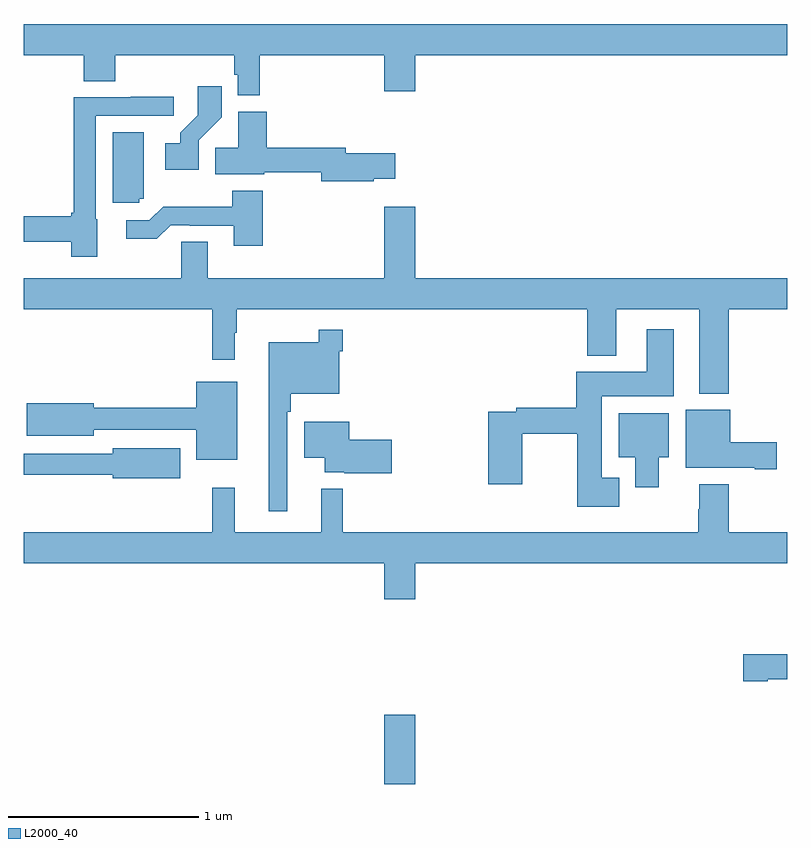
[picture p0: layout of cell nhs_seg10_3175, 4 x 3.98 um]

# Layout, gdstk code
import gdstk
lib = gdstk.Library(unit=1e-6, precision=1e-09)
def R(c, l, rs):  # rectangles x0, y0, x1, y1
    for r in rs: c.add(gdstk.rectangle(r[:2], r[2:], *l))
def P(c, l, *ps):  # polygons
    for p in ps: c.add(gdstk.Polygon(p, *l))
L2000_40 = (2000, 40)

nhs_seg10_3175 = lib.new_cell('nhs_seg10_3175')
R(nhs_seg10_3175, L2000_40, [(284.888,1292.5,285.052,1292.863)])
P(nhs_seg10_3175, L2000_40, [(284.237,1296.32),(284.888,1296.32),(284.888,1296.132),(285.052,1296.132),(285.052,1296.32),(287,1296.32),(287,1296.484),(283,1296.484),(283,1296.32),(283.313,1296.32),(283.313,1296.184),(283.478,1296.184),(283.478,1296.32),(284.101,1296.32),(284.101,1296.219),(284.121,1296.219),(284.121,1296.11),(284.237,1296.11)],
  [(283.917,1295.875),(284.036,1295.994),(284.036,1296.157),(283.911,1296.157),(283.911,1296.005),(283.82,1295.915),(283.82,1295.86),(283.74,1295.86),(283.74,1295.72),(283.917,1295.72)],
  [(283.384,1295.46),(283.377,1295.46),(283.377,1296.003),(283.786,1296.003),(283.786,1296.102),(283.561,1296.102),(283.561,1296.099),(283.261,1296.099),(283.261,1295.495),(283.248,1295.495),(283.248,1295.477),(283,1295.477),(283,1295.342),(283.248,1295.342),(283.248,1295.264),(283.384,1295.264)],
  [(284.834,1295.672),(284.947,1295.672),(284.947,1295.807),(284.686,1295.807),(284.686,1295.836),(284.273,1295.836),(284.273,1296.025),(284.123,1296.025),(284.123,1295.834),(284.002,1295.834),(284.002,1295.696),(284.26,1295.696),(284.26,1295.707),(284.558,1295.707),(284.558,1295.66),(284.834,1295.66)],
  [(283.605,1295.568),(283.627,1295.568),(283.627,1295.917),(283.466,1295.917),(283.466,1295.547),(283.605,1295.547)],
  [(284.252,1295.611),(284.092,1295.611),(284.092,1295.527),(283.729,1295.527),(283.656,1295.454),(283.536,1295.454),(283.536,1295.357),(283.697,1295.357),(283.77,1295.43),(283.87,1295.43),(283.87,1295.427),(284.099,1295.427),(284.099,1295.322),(284.252,1295.322)],
  [(286.694,1294.988),(287,1294.988),(287,1295.152),(285.052,1295.152),(285.052,1295.527),(284.888,1295.527),(284.888,1295.152),(283.963,1295.152),(283.963,1295.342),(283.824,1295.342),(283.824,1295.152),(283,1295.152),(283,1294.988),(283.987,1294.988),(283.987,1294.725),(284.104,1294.725),(284.104,1294.865),(284.116,1294.865),(284.116,1294.988),(285.953,1294.988),(285.953,1294.745),(286.105,1294.745),(286.105,1294.988),(286.541,1294.988),(286.541,1294.547),(286.694,1294.547)],
  [(286.12,1294.105),(286.03,1294.105),(286.03,1294.532),(286.405,1294.532),(286.405,1294.885),(286.265,1294.885),(286.265,1294.66),(285.896,1294.66),(285.896,1294.472),(285.58,1294.472),(285.58,1294.452),(285.434,1294.452),(285.434,1294.071),(285.612,1294.071),(285.612,1294.336),(285.901,1294.336),(285.901,1293.953),(286.12,1293.953)],
  [(284.379,1294.451),(284.399,1294.451),(284.399,1294.547),(284.652,1294.547),(284.652,1294.769),(284.672,1294.769),(284.672,1294.882),(284.544,1294.882),(284.544,1294.816),(284.282,1294.816),(284.282,1293.93),(284.379,1293.93)],
  [(284.119,1294.609),(283.904,1294.609),(283.904,1294.472),(283.366,1294.472),(283.366,1294.496),(283.014,1294.496),(283.014,1294.325),(283.366,1294.325),(283.366,1294.356),(283.904,1294.356),(283.904,1294.199),(284.119,1294.199)],
  [(286.945,1294.292),(286.702,1294.292),(286.702,1294.462),(286.469,1294.462),(286.469,1294.157),(286.832,1294.157),(286.832,1294.15),(286.945,1294.15)],
  [(286.327,1294.214),(286.381,1294.214),(286.381,1294.444),(286.118,1294.444),(286.118,1294.214),(286.205,1294.214),(286.205,1294.056),(286.327,1294.056)],
  [(284.929,1294.304),(284.704,1294.304),(284.704,1294.399),(284.468,1294.399),(284.468,1294.211),(284.576,1294.211),(284.576,1294.133),(284.68,1294.133),(284.68,1294.128),(284.929,1294.128)],
  [(283.819,1294.261),(283.466,1294.261),(283.466,1294.23),(283,1294.23),(283,1294.122),(283.466,1294.122),(283.466,1294.103),(283.819,1294.103)],
  [(285.052,1293.656),(287,1293.656),(287,1293.82),(286.694,1293.82),(286.694,1294.072),(286.541,1294.072),(286.541,1293.941),(286.534,1293.941),(286.534,1293.82),(284.67,1293.82),(284.67,1294.048),(284.558,1294.048),(284.558,1293.82),(284.105,1293.82),(284.105,1294.054),(283.987,1294.054),(283.987,1293.82),(283,1293.82),(283,1293.656),(284.888,1293.656),(284.888,1293.468),(285.052,1293.468)],
  [(286.899,1293.05),(287,1293.05),(287,1293.18),(286.77,1293.18),(286.77,1293.038),(286.899,1293.038)])

lib.write_gds('nhs_seg10_3175.gds')
